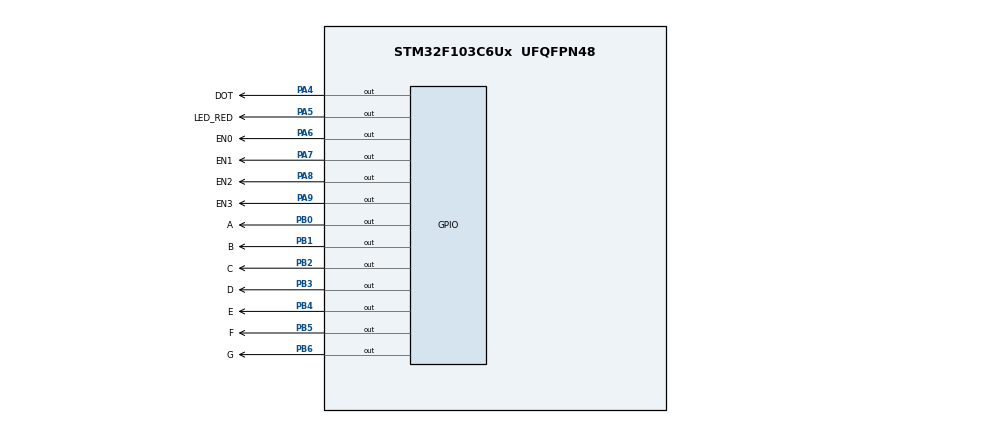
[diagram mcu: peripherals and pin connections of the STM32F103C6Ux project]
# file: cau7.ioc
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Mcu.Family=STM32F1
Mcu.Name=STM32F103C6Ux
Mcu.Package=UFQFPN48
NVIC.PriorityGroup=NVIC_PRIORITYGROUP_4
NVIC.TIM2_IRQn=true\:0\:0\:false\:false\:true\:true\:true\:true
PA4.GPIO_Label=DOT
PA4.Signal=GPIO_Output
PA5.GPIO_Label=LED_RED
PA5.Signal=GPIO_Output
PA6.GPIO_Label=EN0
PA6.Signal=GPIO_Output
PA7.GPIO_Label=EN1
PA7.Signal=GPIO_Output
PA8.GPIO_Label=EN2
PA8.Signal=GPIO_Output
PA9.GPIO_Label=EN3
PA9.Signal=GPIO_Output
PB0.GPIO_Label=A
PB0.Signal=GPIO_Output
PB1.GPIO_Label=B
PB1.Signal=GPIO_Output
PB2.GPIO_Label=C
PB2.Signal=GPIO_Output
PB3.GPIO_Label=D
PB3.Signal=GPIO_Output
PB4.GPIO_Label=E
PB4.Signal=GPIO_Output
PB5.GPIO_Label=F
PB5.Signal=GPIO_Output
PB6.GPIO_Label=G
PB6.Signal=GPIO_Output
ProjectManager.HeapSize=0x200
ProjectManager.StackSize=0x400
ProjectManager.TargetToolchain=STM32CubeIDE
RCC.APB1Freq_Value=8000000
RCC.APB2Freq_Value=8000000
TIM2.Period=10
TIM2.Prescaler=7999
VP_TIM2_VS_ClockSourceINT.Mode=Internal
board=custom

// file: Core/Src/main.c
/* USER CODE BEGIN Header */
/**
  ******************************************************************************
  * @file           : main.c
  * @brief          : Main program body
  ******************************************************************************
  * @attention
  *
  * Copyright (c) 2022 STMicroelectronics.
  * All rights reserved.
  *
  * This software is licensed under terms that can be found in the LICENSE file
  * in the root directory of this software component.
  * If no LICENSE file comes with this software, it is provided AS-IS.
  *
  ******************************************************************************
  */
/* USER CODE END Header */
#include "main.h"

/* USER CODE BEGIN Includes */

#include "cau7_header.h"

/* USER CODE END Includes */

TIM_HandleTypeDef htim2;

/* USER CODE BEGIN PV */

const int MAX_LED = 4;
int index_led = 0;
int led_buffer [4] = {1 , 2 , 3 , 4};

int hour = 15 , minute = 8 , second = 50;

/* USER CODE END PV */

void SystemClock_Config(void);
static void MX_GPIO_Init(void);
static void MX_TIM2_Init(void);
/* USER CODE BEGIN PFP */

void display7SEG(int num)
{
	if (num == 0)
	{
		HAL_GPIO_WritePin(A_GPIO_Port,A_Pin,0);
		HAL_GPIO_WritePin(B_GPIO_Port,B_Pin,0);
		HAL_GPIO_WritePin(C_GPIO_Port,C_Pin,0);
		HAL_GPIO_WritePin(D_GPIO_Port,D_Pin,0);
		HAL_GPIO_WritePin(E_GPIO_Port,E_Pin,0);
		HAL_GPIO_WritePin(F_GPIO_Port,F_Pin,0);
		HAL_GPIO_WritePin(G_GPIO_Port,G_Pin,1);
	}
	if (num == 1)
	{
		HAL_GPIO_WritePin(A_GPIO_Port,A_Pin,1);
		HAL_GPIO_WritePin(B_GPIO_Port,B_Pin,0);
		HAL_GPIO_WritePin(C_GPIO_Port,C_Pin,0);
		HAL_GPIO_WritePin(D_GPIO_Port,D_Pin,1);
		HAL_GPIO_WritePin(E_GPIO_Port,E_Pin,1);
		HAL_GPIO_WritePin(F_GPIO_Port,F_Pin,1);
		HAL_GPIO_WritePin(G_GPIO_Port,G_Pin,1);
	}
	if (num == 2)
	{
		HAL_GPIO_WritePin(A_GPIO_Port,A_Pin,0);
		HAL_GPIO_WritePin(B_GPIO_Port,B_Pin,0);
		HAL_GPIO_WritePin(C_GPIO_Port,C_Pin,1);
		HAL_GPIO_WritePin(D_GPIO_Port,D_Pin,0);
		HAL_GPIO_WritePin(E_GPIO_Port,E_Pin,0);
		HAL_GPIO_WritePin(F_GPIO_Port,F_Pin,1);
		HAL_GPIO_WritePin(G_GPIO_Port,G_Pin,0);
	}
	if (num == 3)
	{
		HAL_GPIO_WritePin(A_GPIO_Port,A_Pin,0);
		HAL_GPIO_WritePin(B_GPIO_Port,B_Pin,0);
		HAL_GPIO_WritePin(C_GPIO_Port,C_Pin,0);
		HAL_GPIO_WritePin(D_GPIO_Port,D_Pin,0);
		HAL_GPIO_WritePin(E_GPIO_Port,E_Pin,1);
		HAL_GPIO_WritePin(F_GPIO_Port,F_Pin,1);
		HAL_GPIO_WritePin(G_GPIO_Port,G_Pin,0);
	}
	if (num == 4)
	{
		HAL_GPIO_WritePin(A_GPIO_Port,A_Pin,1);
		HAL_GPIO_WritePin(B_GPIO_Port,B_Pin,0);
		HAL_GPIO_WritePin(C_GPIO_Port,C_Pin,0);
		HAL_GPIO_WritePin(D_GPIO_Port,D_Pin,1);
		HAL_GPIO_WritePin(E_GPIO_Port,E_Pin,1);
		HAL_GPIO_WritePin(F_GPIO_Port,F_Pin,0);
		HAL_GPIO_WritePin(G_GPIO_Port,G_Pin,0);
	}
	if (num == 5)
	{
		HAL_GPIO_WritePin(A_GPIO_Port,A_Pin,0);
		HAL_GPIO_WritePin(B_GPIO_Port,B_Pin,1);
		HAL_GPIO_WritePin(C_GPIO_Port,C_Pin,0);
		HAL_GPIO_WritePin(D_GPIO_Port,D_Pin,0);
		HAL_GPIO_WritePin(E_GPIO_Port,E_Pin,1);
		HAL_GPIO_WritePin(F_GPIO_Port,F_Pin,0);
		HAL_GPIO_WritePin(G_GPIO_Port,G_Pin,0);
	}
	if (num == 6)
	{
		HAL_GPIO_WritePin(A_GPIO_Port,A_Pin,0);
		HAL_GPIO_WritePin(B_GPIO_Port,B_Pin,1);
		HAL_GPIO_WritePin(C_GPIO_Port,C_Pin,0);
		HAL_GPIO_WritePin(D_GPIO_Port,D_Pin,0);
		HAL_GPIO_WritePin(E_GPIO_Port,E_Pin,0);
		HAL_GPIO_WritePin(F_GPIO_Port,F_Pin,0);
		HAL_GPIO_WritePin(G_GPIO_Port,G_Pin,0);
	}
	if (num == 7)
	{
		HAL_GPIO_WritePin(A_GPIO_Port,A_Pin,0);
		HAL_GPIO_WritePin(B_GPIO_Port,B_Pin,0);
		HAL_GPIO_WritePin(C_GPIO_Port,C_Pin,0);
		HAL_GPIO_WritePin(D_GPIO_Port,D_Pin,1);
		HAL_GPIO_WritePin(E_GPIO_Port,E_Pin,1);
		HAL_GPIO_WritePin(F_GPIO_Port,F_Pin,1);
		HAL_GPIO_WritePin(G_GPIO_Port,G_Pin,1);
	}
	if (num == 8)
	{
		HAL_GPIO_WritePin(A_GPIO_Port,A_Pin,0);
		HAL_GPIO_WritePin(B_GPIO_Port,B_Pin,0);
		HAL_GPIO_WritePin(C_GPIO_Port,C_Pin,0);
		HAL_GPIO_WritePin(D_GPIO_Port,D_Pin,0);
		HAL_GPIO_WritePin(E_GPIO_Port,E_Pin,0);
		HAL_GPIO_WritePin(F_GPIO_Port,F_Pin,0);
		HAL_GPIO_WritePin(G_GPIO_Port,G_Pin,0);
	}
	if (num == 9)
	{
		HAL_GPIO_WritePin(A_GPIO_Port,A_Pin,0);
		HAL_GPIO_WritePin(B_GPIO_Port,B_Pin,0);
		HAL_GPIO_WritePin(C_GPIO_Port,C_Pin,0);
		HAL_GPIO_WritePin(D_GPIO_Port,D_Pin,0);
		HAL_GPIO_WritePin(E_GPIO_Port,E_Pin,1);
		HAL_GPIO_WritePin(F_GPIO_Port,F_Pin,0);
		HAL_GPIO_WritePin(G_GPIO_Port,G_Pin,0);
	}
}

void update7SEG (int index)
{
	switch(index)
	{
		case 0:		// Display the first 7 SEG with led_buffer [0]
			display7SEG(led_buffer [0]);
			HAL_GPIO_WritePin(EN0_GPIO_Port, EN0_Pin, 0);	// seg 1 on
			HAL_GPIO_WritePin(EN1_GPIO_Port, EN1_Pin, 1);	// seg 2 off
			HAL_GPIO_WritePin(EN2_GPIO_Port, EN2_Pin, 1);	// seg 3 off
			HAL_GPIO_WritePin(EN3_GPIO_Port, EN3_Pin, 1);	// seg 4 off
			break;
		case 1:		// Display the second 7 SEG with led_buffer [1]
			display7SEG(led_buffer [1]);
			HAL_GPIO_WritePin(EN0_GPIO_Port, EN0_Pin, 1);	// seg 1 off
			HAL_GPIO_WritePin(EN1_GPIO_Port, EN1_Pin, 0);	// seg 2 on
			break;
		case 2:		// Display the third 7 SEG with led_buffer [2]
			display7SEG(led_buffer [2]);
			HAL_GPIO_WritePin(EN1_GPIO_Port, EN1_Pin, 1);	// seg 2 off
			HAL_GPIO_WritePin(EN2_GPIO_Port, EN2_Pin, 0);	// seg 3 on
			break;
		default:	// Display the forth 7 SEG with led_buffer [3]
			display7SEG(led_buffer [3]);
			HAL_GPIO_WritePin(EN2_GPIO_Port, EN2_Pin, 1);	// seg 3 off
			HAL_GPIO_WritePin(EN3_GPIO_Port, EN3_Pin, 0);	// seg 4 on
		break;
	}
}

void updateClockBuffer()
{
	led_buffer [0] = hour/10;
	led_buffer [1] = hour%10;
	led_buffer [2] = minute/10;
	led_buffer [3] = minute%10;
}

/* USER CODE END PFP */

int main(void)
{

  /* MCU Configuration--------------------------------------------------------*/

  /* Reset of all peripherals, Initializes the Flash interface and the Systick. */
  HAL_Init();

  /* Configure the system clock */
  SystemClock_Config();

  /* Initialize all configured peripherals */
  MX_GPIO_Init();
  MX_TIM2_Init();
  /* USER CODE BEGIN 2 */

  HAL_TIM_Base_Start_IT(&htim2);

  /* USER CODE END 2 */

  /* Infinite loop */
  /* USER CODE BEGIN WHILE */

  timer0_flag = 1;
  timer1_flag = 1;
  while (1)
  {
	  if(timer1_flag == 1)
	  {
		  setTimer1(1000);
		  second++;

		  if(second >= 60)
		  {
			  second = 0;
			  minute++;
		  }
		  if(minute >= 60)
		  {
			  minute = 0;
			  hour++;
		  }
		  if(hour >= 24)
			  hour = 0;
	  }

	  if(timer0_flag == 1)
	  {
		  setTimer0(500);
		  HAL_GPIO_TogglePin(LED_RED_GPIO_Port, LED_RED_Pin);
		  HAL_GPIO_TogglePin(DOT_GPIO_Port, DOT_Pin);

		  updateClockBuffer ();
		  update7SEG(index_led++);
	  }

	  if(index_led == 4)
		  index_led = 0;

    /* USER CODE END WHILE */

  }
}

void SystemClock_Config(void)
{
  RCC_OscInitTypeDef RCC_OscInitStruct = {0};
  RCC_ClkInitTypeDef RCC_ClkInitStruct = {0};

  /** Initializes the RCC Oscillators according to the specified parameters
  * in the RCC_OscInitTypeDef structure.
  */
  RCC_OscInitStruct.OscillatorType = RCC_OSCILLATORTYPE_HSI;
  RCC_OscInitStruct.HSIState = RCC_HSI_ON;
  RCC_OscInitStruct.HSICalibrationValue = RCC_HSICALIBRATION_DEFAULT;
  RCC_OscInitStruct.PLL.PLLState = RCC_PLL_NONE;
  if (HAL_RCC_OscConfig(&RCC_OscInitStruct) != HAL_OK)
  {
    Error_Handler();
  }

  /** Initializes the CPU, AHB and APB buses clocks
  */
  RCC_ClkInitStruct.ClockType = RCC_CLOCKTYPE_HCLK|RCC_CLOCKTYPE_SYSCLK
                              |RCC_CLOCKTYPE_PCLK1|RCC_CLOCKTYPE_PCLK2;
  RCC_ClkInitStruct.SYSCLKSource = RCC_SYSCLKSOURCE_HSI;
  RCC_ClkInitStruct.AHBCLKDivider = RCC_SYSCLK_DIV1;
  RCC_ClkInitStruct.APB1CLKDivider = RCC_HCLK_DIV1;
  RCC_ClkInitStruct.APB2CLKDivider = RCC_HCLK_DIV1;

  if (HAL_RCC_ClockConfig(&RCC_ClkInitStruct, FLASH_LATENCY_0) != HAL_OK)
  {
    Error_Handler();
  }
}

static void MX_TIM2_Init(void)
{

  TIM_ClockConfigTypeDef sClockSourceConfig = {0};
  TIM_MasterConfigTypeDef sMasterConfig = {0};

  htim2.Instance = TIM2;
  htim2.Init.Prescaler = 7999;
  htim2.Init.CounterMode = TIM_COUNTERMODE_UP;
  htim2.Init.Period = 10;
  htim2.Init.ClockDivision = TIM_CLOCKDIVISION_DIV1;
  htim2.Init.AutoReloadPreload = TIM_AUTORELOAD_PRELOAD_DISABLE;
  if (HAL_TIM_Base_Init(&htim2) != HAL_OK)
  {
    Error_Handler();
  }
  sClockSourceConfig.ClockSource = TIM_CLOCKSOURCE_INTERNAL;
  if (HAL_TIM_ConfigClockSource(&htim2, &sClockSourceConfig) != HAL_OK)
  {
    Error_Handler();
  }
  sMasterConfig.MasterOutputTrigger = TIM_TRGO_RESET;
  sMasterConfig.MasterSlaveMode = TIM_MASTERSLAVEMODE_DISABLE;
  if (HAL_TIMEx_MasterConfigSynchronization(&htim2, &sMasterConfig) != HAL_OK)
  {
    Error_Handler();
  }

}

static void MX_GPIO_Init(void)
{
  GPIO_InitTypeDef GPIO_InitStruct = {0};

  /* GPIO Ports Clock Enable */
  __HAL_RCC_GPIOA_CLK_ENABLE();
  __HAL_RCC_GPIOB_CLK_ENABLE();

  /*Configure GPIO pin Output Level */
  HAL_GPIO_WritePin(GPIOA, DOT_Pin|LED_RED_Pin|EN0_Pin|EN1_Pin
                          |EN2_Pin|EN3_Pin, GPIO_PIN_RESET);

  /*Configure GPIO pin Output Level */
  HAL_GPIO_WritePin(GPIOB, A_Pin|B_Pin|C_Pin|D_Pin
                          |E_Pin|F_Pin|G_Pin, GPIO_PIN_RESET);

  /*Configure GPIO pins : DOT_Pin LED_RED_Pin EN0_Pin EN1_Pin
                           EN2_Pin EN3_Pin */
  GPIO_InitStruct.Pin = DOT_Pin|LED_RED_Pin|EN0_Pin|EN1_Pin
                          |EN2_Pin|EN3_Pin;
  GPIO_InitStruct.Mode = GPIO_MODE_OUTPUT_PP;
  GPIO_InitStruct.Pull = GPIO_NOPULL;
  GPIO_InitStruct.Speed = GPIO_SPEED_FREQ_LOW;
  HAL_GPIO_Init(GPIOA, &GPIO_InitStruct);

  /*Configure GPIO pins : A_Pin B_Pin C_Pin D_Pin
                           E_Pin F_Pin G_Pin */
  GPIO_InitStruct.Pin = A_Pin|B_Pin|C_Pin|D_Pin
                          |E_Pin|F_Pin|G_Pin;
  GPIO_InitStruct.Mode = GPIO_MODE_OUTPUT_PP;
  GPIO_InitStruct.Pull = GPIO_NOPULL;
  GPIO_InitStruct.Speed = GPIO_SPEED_FREQ_LOW;
  HAL_GPIO_Init(GPIOB, &GPIO_InitStruct);

}

/* USER CODE BEGIN 4 */

void HAL_TIM_PeriodElapsedCallback (TIM_HandleTypeDef *htim )
{
	timer_run ();
}

/* USER CODE END 4 */

void Error_Handler(void)
{
  __disable_irq();
  while (1)
  {
  }
}
